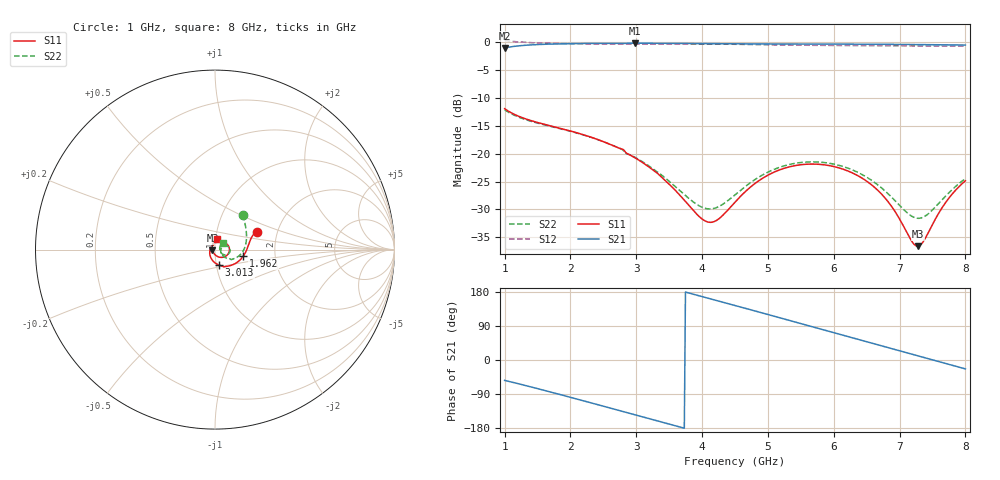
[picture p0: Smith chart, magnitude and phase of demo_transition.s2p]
! mom25d demo_transition (19 EM solves)
! port reference impedances: 50.000, 50.000
# Hz S RI R 50
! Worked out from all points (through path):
!   401 points, 1 GHz to 8 GHz, reference 50 ohm
!   highest |S21| = -0.17 dB at 2.978 GHz (marker M1); lowest = -1.0 dB at 1 GHz (marker M2)
!   group delay of S21, straight-line fit = 132 ps
!   lowest |S11| = -36.6 dB at 7.282 GHz (marker M3), VSWR 1.03, Z = 48.6 - j0.299 ohm
!   |S11| at or under -10 dB: start of sweep to end of sweep
!   |S22| runs from -31.6 to -12.1 dB; largest |S21 - S12| = 0.15
!   S11 on the Smith chart (normalised r, x): 1 GHz: 1.56, +0.33; 1.962 GHz: 1.37, -0.10; 3.013 GHz: 1.03, -0.18; 8 GHz: 1.01, +0.11
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1e9  0.2327 0.1  0.5248 -0.717  0.6207 -0.8326  0.1554 0.1927
1.49e9  0.1888 0.0308  0.2464 -0.9212  0.2585 -0.9522  0.1758 0.0694
1.9625e9  0.1582 -0.0353  -0.1133 -0.9648  -0.1111 -0.9652  0.1611 0.00048
2.1725e9  0.1369 -0.0599  -0.2767 -0.935  -0.2729 -0.9291  0.1474 -0.0211
2.5575e9  0.0872 -0.0887  -0.556 -0.8057  -0.5467 -0.7953  0.1154 -0.0465
2.9775e9  0.0278 -0.0878  -0.7977 -0.5707  -0.7828 -0.5619  0.0777 -0.0511
3.0125e9  0.0235 -0.0864  -0.8139 -0.5472  -0.7988 -0.5389  0.075 -0.0508
3.345e9  -0.0109 -0.0639  -0.9304 -0.3043  -0.9139 -0.3012  0.0522 -0.0422
3.695e9  -0.0285 -0.0286  -0.9757 -0.0284  -0.9634 -0.0297  0.0371 -0.0251
4.0625e9  -0.0235 0.00752  -0.936 0.2598  -0.9296 0.2563  0.0317 -0.00559
4.2375e9  -0.0141 0.0214  -0.8875 0.3897  -0.8828 0.3857  0.033 0.00325
4.5e9  0.00564 0.0363  -0.7817 0.5697  -0.7767 0.5639  0.0402 0.0144
5.1125e9  0.0585 0.0367  -0.4018 0.8787  -0.3957 0.8613  0.0709 0.0176
5.6725e9  0.0807 -0.000803  0.0406 0.9641  0.038 0.9388  0.0843 -0.00625
5.9875e9  0.073 -0.0245  0.2906 0.9187  0.2811 0.8934  0.0783 -0.0206
6.32e9  0.0514 -0.0407  0.5311 0.8021  0.5148 0.78  0.0637 -0.029
6.845e9  0.0079 -0.0349  0.8189 0.4986  0.7956 0.4861  0.037 -0.0211
7.1775e9  -0.0113 -0.0122  0.9209 0.2543  0.8964 0.249  0.0273 -0.00452
7.2825e9  -0.0145 -0.00307  0.9383 0.1727  0.9139 0.1696  0.0262 0.00167
7.44e9  -0.0161 0.0114  0.9506 0.0486  0.9268 0.0488  0.0268 0.0111
7.72e9  -0.00946 0.0367  0.9324 -0.1702  0.9107 -0.1648  0.0337 0.0265
8e9  0.00846 0.0565  0.8663 -0.377  0.8479 -0.3675  0.047 0.037
